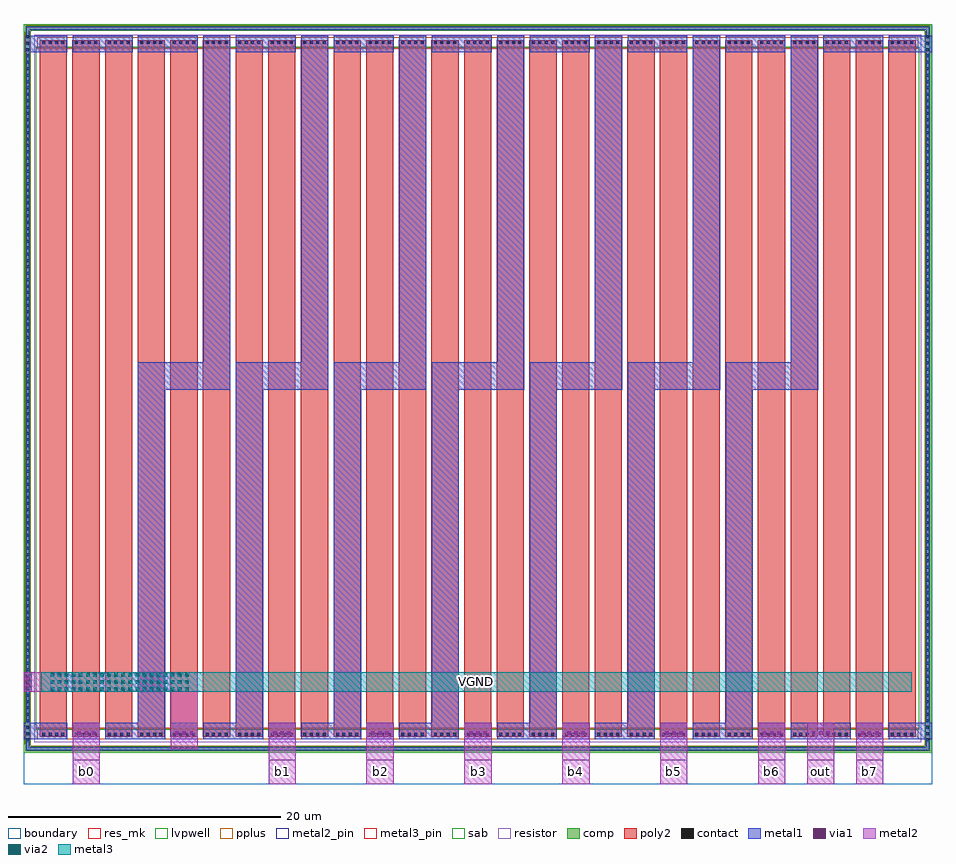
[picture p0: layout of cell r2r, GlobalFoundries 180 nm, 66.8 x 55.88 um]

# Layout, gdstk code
import gdstk
lib = gdstk.Library(unit=1e-6, precision=1e-09)
def R(c, l, rs):  # rectangles x0, y0, x1, y1
    for r in rs: c.add(gdstk.rectangle(r[:2], r[2:], *l))
def A(c, l, x, y, w, h, nx, ny, dx, dy):  # array of equal rectangles
    R(c, l, [(x+i*dx, y+j*dy, x+i*dx+w, y+j*dy+h) for i in range(nx) for j in range(ny)])
boundary = (0, 0)
comp = (22, 0)
poly2 = (30, 0)
pplus = (31, 0)
contact = (33, 0)
metal1 = (34, 0)
via1 = (35, 0)
metal2 = (36, 0)
metal2_pin = (36, 10)
via2 = (38, 0)
metal3 = (42, 0)
metal3_pin = (42, 10)
sab = (49, 0)
resistor = (62, 0)
res_mk = (110, 5)
lvpwell = (204, 0)

ppolyf_u_1k_7hw445 = lib.new_cell('ppolyf_u_1k_7HW445')
R(ppolyf_u_1k_7hw445, boundary, [(-33.08,-26.49,33.08,26.49)])
R(ppolyf_u_1k_7hw445, comp, [(-33.26,-26.67,33.26,-26.31), (-33.26,-26.31,-32.9,26.31), (32.9,-26.31,33.26,26.31), (-33.26,26.31,33.26,26.67)])
A(ppolyf_u_1k_7hw445, poly2, -32.2, -25.61, 2, 51.22, 27, 1, 2.4, 0)
R(ppolyf_u_1k_7hw445, pplus, [(-33.28,-26.69,33.28,-26.29), (-33.28,-26.29,-32.87,-26.185), (32.87,-26.29,33.28,-26.185), (-33.29,-26.185,-32.87,26.185), (32.87,-26.185,33.29,26.185), (-32.4,-25.81,32.4,-25), (-32.4,25,32.4,25.81), (-33.28,26.185,-32.87,26.29), (32.87,26.185,33.28,26.29), (-33.28,26.29,33.28,26.69)])
A(ppolyf_u_1k_7hw445, contact, -33.19, -25.96, 0.22, 0.22, 1, 111, 0, 0.47)
A(ppolyf_u_1k_7hw445, contact, 32.97, -25.96, 0.22, 0.22, 1, 111, 0, 0.47)
A(ppolyf_u_1k_7hw445, contact, -32.015, -25.54, 0.22, 0.22, 4, 2, 0.47, 50.86)
A(ppolyf_u_1k_7hw445, contact, -29.615, -25.54, 0.22, 0.22, 4, 2, 0.47, 50.86)
A(ppolyf_u_1k_7hw445, contact, -27.215, -25.54, 0.22, 0.22, 4, 2, 0.47, 50.86)
A(ppolyf_u_1k_7hw445, contact, -24.815, -25.54, 0.22, 0.22, 4, 2, 0.47, 50.86)
A(ppolyf_u_1k_7hw445, contact, -22.415, -25.54, 0.22, 0.22, 4, 2, 0.47, 50.86)
A(ppolyf_u_1k_7hw445, contact, -20.015, -25.54, 0.22, 0.22, 4, 2, 0.47, 50.86)
A(ppolyf_u_1k_7hw445, contact, -17.615, -25.54, 0.22, 0.22, 4, 2, 0.47, 50.86)
A(ppolyf_u_1k_7hw445, contact, -15.215, -25.54, 0.22, 0.22, 4, 2, 0.47, 50.86)
A(ppolyf_u_1k_7hw445, contact, -12.815, -25.54, 0.22, 0.22, 4, 2, 0.47, 50.86)
A(ppolyf_u_1k_7hw445, contact, -10.415, -25.54, 0.22, 0.22, 4, 2, 0.47, 50.86)
A(ppolyf_u_1k_7hw445, contact, -8.015, -25.54, 0.22, 0.22, 4, 2, 0.47, 50.86)
A(ppolyf_u_1k_7hw445, contact, -5.615, -25.54, 0.22, 0.22, 4, 2, 0.47, 50.86)
A(ppolyf_u_1k_7hw445, contact, -3.215, -25.54, 0.22, 0.22, 4, 2, 0.47, 50.86)
A(ppolyf_u_1k_7hw445, contact, -0.815, -25.54, 0.22, 0.22, 4, 2, 0.47, 50.86)
A(ppolyf_u_1k_7hw445, contact, 1.585, -25.54, 0.22, 0.22, 4, 2, 0.47, 50.86)
A(ppolyf_u_1k_7hw445, contact, 3.985, -25.54, 0.22, 0.22, 4, 2, 0.47, 50.86)
A(ppolyf_u_1k_7hw445, contact, 6.385, -25.54, 0.22, 0.22, 4, 2, 0.47, 50.86)
A(ppolyf_u_1k_7hw445, contact, 8.785, -25.54, 0.22, 0.22, 4, 2, 0.47, 50.86)
A(ppolyf_u_1k_7hw445, contact, 11.185, -25.54, 0.22, 0.22, 4, 2, 0.47, 50.86)
A(ppolyf_u_1k_7hw445, contact, 13.585, -25.54, 0.22, 0.22, 4, 2, 0.47, 50.86)
A(ppolyf_u_1k_7hw445, contact, 15.985, -25.54, 0.22, 0.22, 4, 2, 0.47, 50.86)
A(ppolyf_u_1k_7hw445, contact, 18.385, -25.54, 0.22, 0.22, 4, 2, 0.47, 50.86)
A(ppolyf_u_1k_7hw445, contact, 20.785, -25.54, 0.22, 0.22, 4, 2, 0.47, 50.86)
A(ppolyf_u_1k_7hw445, contact, 23.185, -25.54, 0.22, 0.22, 4, 2, 0.47, 50.86)
A(ppolyf_u_1k_7hw445, contact, 25.585, -25.54, 0.22, 0.22, 4, 2, 0.47, 50.86)
A(ppolyf_u_1k_7hw445, contact, 27.985, -25.54, 0.22, 0.22, 4, 2, 0.47, 50.86)
A(ppolyf_u_1k_7hw445, contact, 30.385, -25.54, 0.22, 0.22, 4, 2, 0.47, 50.86)
A(ppolyf_u_1k_7hw445, metal1, -32.19, -25.545, 1.98, 0.23, 27, 2, 2.4, 50.86)
R(ppolyf_u_1k_7hw445, metal1, [(-33.195,-26.605,33.195,-26.375), (-33.195,-26.375,-32.965,26.375), (32.965,-26.375,33.195,26.375), (-33.195,26.375,33.195,26.605)])
R(ppolyf_u_1k_7hw445, sab, [(-32.48,-25.1,32.48,25.1), (-32.48,-25,32.48,25)])
R(ppolyf_u_1k_7hw445, resistor, [(-32.6,-26.01,32.6,26.01)])
A(ppolyf_u_1k_7hw445, res_mk, -32.2, -25, 2, 50, 27, 1, 2.4, 0)
R(ppolyf_u_1k_7hw445, res_mk, [(-32.48,-25,32.48,25)])
R(ppolyf_u_1k_7hw445, lvpwell, [(-33.38,-26.79,33.38,26.79)])

r2r = lib.new_cell('r2r')
R(r2r, boundary, [(0,0,66.8,55.85)])
A(r2r, metal1, 3.6, 3.3, 2, 1.2, 9, 1, 7.2, 0)
A(r2r, metal1, 13.2, 3.3, 4.4, 0.245, 6, 1, 7.2, 0)
A(r2r, metal1, 13.19, 3.545, 4.41, 0.23, 6, 1, 7.2, 0)
A(r2r, metal1, 13.2, 3.775, 4.4, 0.725, 6, 1, 7.2, 0)
A(r2r, metal1, 8.4, 4.5, 2, 24.5, 7, 1, 7.2, 0)
A(r2r, metal1, 8.4, 29, 6.8, 2, 7, 1, 7.2, 0)
A(r2r, metal1, 20.4, 31, 2, 23.405, 6, 1, 7.2, 0)
A(r2r, metal1, 8.4, 53.8, 4.4, 1.2, 8, 1, 7.2, 0)
A(r2r, metal1, 20.39, 54.405, 2.01, 0.23, 6, 1, 7.2, 0)
A(r2r, metal1, 20.4, 54.635, 2, 0.365, 6, 1, 7.2, 0)
R(r2r, metal1, [(0,3.3,3.2,4.5), (6,3.3,10.4,4.5), (56.4,3.3,60.8,4.5), (63.6,3.3,66.8,4.5), (0,6.8,0.6,8.2), (13.2,31,15.2,55), (0.1,53.8,3.2,55), (3.6,53.8,8,55), (63.6,53.8,66.8,55)])
A(r2r, via1, 3.95, 3.62, 0.26, 0.26, 3, 1, 0.52, 0)
A(r2r, via1, 11.15, 3.62, 0.26, 0.26, 3, 1, 0.52, 0)
A(r2r, via1, 18.35, 3.62, 0.26, 0.26, 3, 1, 0.52, 0)
A(r2r, via1, 25.55, 3.62, 0.26, 0.26, 3, 1, 0.52, 0)
A(r2r, via1, 32.75, 3.62, 0.26, 0.26, 3, 1, 0.52, 0)
A(r2r, via1, 39.95, 3.62, 0.26, 0.26, 3, 1, 0.52, 0)
A(r2r, via1, 47.15, 3.62, 0.26, 0.26, 3, 1, 0.52, 0)
A(r2r, via1, 54.35, 3.62, 0.26, 0.26, 3, 1, 0.52, 0)
A(r2r, via1, 57.95, 3.62, 0.26, 0.26, 3, 1, 0.52, 0)
A(r2r, via1, 61.55, 3.62, 0.26, 0.26, 3, 1, 0.52, 0)
R(r2r, via1, [(0.17,7.11,0.43,7.37), (0.17,7.63,0.43,7.89)])
A(r2r, metal2, 18, 0, 2, 4.5, 6, 1, 7.2, 0)
R(r2r, metal2, [(3.6,0,5.6,4.5), (57.6,0,59.6,4.5), (61.2,0,63.2,4.5), (10.8,2.6,12.8,6.8), (0,6.8,12.8,8.2)])
A(r2r, metal2_pin, 18, 0, 2, 1.8, 6, 1, 7.2, 0)
R(r2r, metal2_pin, [(3.6,0,5.6,1.8), (57.6,0,59.6,1.8), (61.2,0,63.2,1.8)])
A(r2r, via2, 1.98, 6.85, 0.26, 0.26, 20, 3, 0.52, 0.52)
R(r2r, metal3, [(1.3,6.8,65.3,8.2)])
R(r2r, metal3_pin, [(1.3,6.8,65.3,8.2)])
A(r2r, lvpwell, 3.6, 3.3, 2, 1.2, 9, 1, 7.2, 0)
A(r2r, lvpwell, 6, 3.3, 4.4, 1.2, 6, 1, 7.2, 0)
R(r2r, lvpwell, [(0,3.3,3.2,4.5), (56.4,3.3,60.8,4.5), (13.2,29.8,15.2,55), (8.4,53.8,12.8,55)])
r2r.add(gdstk.Reference(ppolyf_u_1k_7hw445, (33.38,29.09)))
r2r.add(gdstk.Label('b0', (4.6,0.9), layer=36, texttype=10))
r2r.add(gdstk.Label('b1', (19,0.9), layer=36, texttype=10))
r2r.add(gdstk.Label('b2', (26.2,0.9), layer=36, texttype=10))
r2r.add(gdstk.Label('b3', (33.4,0.9), layer=36, texttype=10))
r2r.add(gdstk.Label('b4', (40.6,0.9), layer=36, texttype=10))
r2r.add(gdstk.Label('b5', (47.8,0.9), layer=36, texttype=10))
r2r.add(gdstk.Label('b6', (55,0.9), layer=36, texttype=10))
r2r.add(gdstk.Label('b7', (62.2,0.9), layer=36, texttype=10))
r2r.add(gdstk.Label('out', (58.6,0.9), layer=36, texttype=10))
r2r.add(gdstk.Label('VGND', (33.3,7.5), layer=42, texttype=10))

lib.write_gds('r2r.gds')
